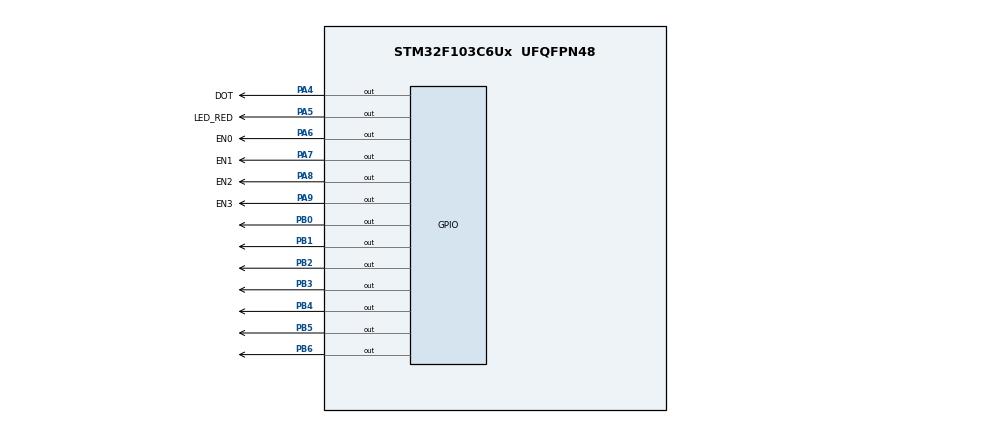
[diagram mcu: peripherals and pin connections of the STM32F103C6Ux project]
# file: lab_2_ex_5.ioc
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Mcu.Family=STM32F1
Mcu.Name=STM32F103C6Ux
Mcu.Package=UFQFPN48
NVIC.PriorityGroup=NVIC_PRIORITYGROUP_4
NVIC.TIM2_IRQn=true\:0\:0\:false\:false\:true\:true\:true\:true
PA4.GPIO_Label=DOT
PA4.Signal=GPIO_Output
PA5.GPIO_Label=LED_RED
PA5.Signal=GPIO_Output
PA6.GPIO_Label=EN0
PA6.Signal=GPIO_Output
PA7.GPIO_Label=EN1
PA7.Signal=GPIO_Output
PA8.GPIO_Label=EN2
PA8.Signal=GPIO_Output
PA9.GPIO_Label=EN3
PA9.Signal=GPIO_Output
PB0.Signal=GPIO_Output
PB1.Signal=GPIO_Output
PB2.Signal=GPIO_Output
PB3.Signal=GPIO_Output
PB4.Signal=GPIO_Output
PB5.Signal=GPIO_Output
PB6.Signal=GPIO_Output
ProjectManager.HeapSize=0x200
ProjectManager.StackSize=0x400
ProjectManager.TargetToolchain=STM32CubeIDE
RCC.APB1Freq_Value=8000000
RCC.APB2Freq_Value=8000000
TIM2.Period=9
TIM2.Prescaler=7999
VP_TIM2_VS_ClockSourceINT.Mode=Internal
board=custom

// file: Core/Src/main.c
/* USER CODE BEGIN Header */
/**
  ******************************************************************************
  * @file           : main.c
  * @brief          : Main program body
  ******************************************************************************
  * @attention
  *
  * <h2><center>&copy; Copyright (c) 2024 STMicroelectronics.
  * All rights reserved.</center></h2>
  *
  * This software component is licensed by ST under BSD 3-Clause license,
  * the "License"; You may not use this file except in compliance with the
  * License. You may obtain a copy of the License at:
  *                        opensource.org/licenses/BSD-3-Clause
  *
  ******************************************************************************
  */
/* USER CODE END Header */
/* USER CODE END Header */
#include "main.h"

TIM_HandleTypeDef htim2;

void SystemClock_Config(void);
static void MX_GPIO_Init(void);
static void MX_TIM2_Init(void);
/* USER CODE BEGIN PFP */
void display7SEG(int num);
void update7SEG(int index);
void updateClockBuffer(int hour, int minute);
/* USER CODE END PFP */

int main(void)
{

  /* MCU Configuration--------------------------------------------------------*/

  /* Reset of all peripherals, Initializes the Flash interface and the Systick. */
  HAL_Init();

  /* Configure the system clock */
  SystemClock_Config();

  /* Initialize all configured peripherals */
  MX_GPIO_Init();
  MX_TIM2_Init();
  /* USER CODE BEGIN 2 */
  HAL_TIM_Base_Start_IT(&htim2);
  /* USER CODE END 2 */

  /* Infinite loop */
  /* USER CODE BEGIN WHILE */
  int hour = 15 , minute = 8 , second = 50;

  while (1)
  {
	   second ++;
	   if ( second >= 60) {
		   second = 0;
		   minute ++;
	   }
	   if( minute >= 60) {
		   minute = 0;
		   hour ++;
	   }
	   if( hour >=24) {
		   hour = 0;
	   }
	   updateClockBuffer (hour, minute) ;
	   HAL_Delay (1000) ;
    /* USER CODE END WHILE */

  }
}

void SystemClock_Config(void)
{
  RCC_OscInitTypeDef RCC_OscInitStruct = {0};
  RCC_ClkInitTypeDef RCC_ClkInitStruct = {0};

  /** Initializes the RCC Oscillators according to the specified parameters
  * in the RCC_OscInitTypeDef structure.
  */
  RCC_OscInitStruct.OscillatorType = RCC_OSCILLATORTYPE_HSI;
  RCC_OscInitStruct.HSIState = RCC_HSI_ON;
  RCC_OscInitStruct.HSICalibrationValue = RCC_HSICALIBRATION_DEFAULT;
  RCC_OscInitStruct.PLL.PLLState = RCC_PLL_NONE;
  if (HAL_RCC_OscConfig(&RCC_OscInitStruct) != HAL_OK)
  {
    Error_Handler();
  }

  /** Initializes the CPU, AHB and APB buses clocks
  */
  RCC_ClkInitStruct.ClockType = RCC_CLOCKTYPE_HCLK|RCC_CLOCKTYPE_SYSCLK
                              |RCC_CLOCKTYPE_PCLK1|RCC_CLOCKTYPE_PCLK2;
  RCC_ClkInitStruct.SYSCLKSource = RCC_SYSCLKSOURCE_HSI;
  RCC_ClkInitStruct.AHBCLKDivider = RCC_SYSCLK_DIV1;
  RCC_ClkInitStruct.APB1CLKDivider = RCC_HCLK_DIV1;
  RCC_ClkInitStruct.APB2CLKDivider = RCC_HCLK_DIV1;

  if (HAL_RCC_ClockConfig(&RCC_ClkInitStruct, FLASH_LATENCY_0) != HAL_OK)
  {
    Error_Handler();
  }
}

static void MX_TIM2_Init(void)
{

  TIM_ClockConfigTypeDef sClockSourceConfig = {0};
  TIM_MasterConfigTypeDef sMasterConfig = {0};

  htim2.Instance = TIM2;
  htim2.Init.Prescaler = 7999;
  htim2.Init.CounterMode = TIM_COUNTERMODE_UP;
  htim2.Init.Period = 9;
  htim2.Init.ClockDivision = TIM_CLOCKDIVISION_DIV1;
  htim2.Init.AutoReloadPreload = TIM_AUTORELOAD_PRELOAD_DISABLE;
  if (HAL_TIM_Base_Init(&htim2) != HAL_OK)
  {
    Error_Handler();
  }
  sClockSourceConfig.ClockSource = TIM_CLOCKSOURCE_INTERNAL;
  if (HAL_TIM_ConfigClockSource(&htim2, &sClockSourceConfig) != HAL_OK)
  {
    Error_Handler();
  }
  sMasterConfig.MasterOutputTrigger = TIM_TRGO_RESET;
  sMasterConfig.MasterSlaveMode = TIM_MASTERSLAVEMODE_DISABLE;
  if (HAL_TIMEx_MasterConfigSynchronization(&htim2, &sMasterConfig) != HAL_OK)
  {
    Error_Handler();
  }

}

static void MX_GPIO_Init(void)
{
  GPIO_InitTypeDef GPIO_InitStruct = {0};

  /* GPIO Ports Clock Enable */
  __HAL_RCC_GPIOA_CLK_ENABLE();
  __HAL_RCC_GPIOB_CLK_ENABLE();

  /*Configure GPIO pin Output Level */
  HAL_GPIO_WritePin(GPIOA, DOT_Pin|LED_RED_Pin|EN0_Pin|EN1_Pin
                          |EN2_Pin|EN3_Pin, GPIO_PIN_RESET);

  /*Configure GPIO pin Output Level */
  HAL_GPIO_WritePin(GPIOB, GPIO_PIN_0|GPIO_PIN_1|GPIO_PIN_2|GPIO_PIN_3
                          |GPIO_PIN_4|GPIO_PIN_5|GPIO_PIN_6, GPIO_PIN_RESET);

  /*Configure GPIO pins : DOT_Pin LED_RED_Pin EN0_Pin EN1_Pin
                           EN2_Pin EN3_Pin */
  GPIO_InitStruct.Pin = DOT_Pin|LED_RED_Pin|EN0_Pin|EN1_Pin
                          |EN2_Pin|EN3_Pin;
  GPIO_InitStruct.Mode = GPIO_MODE_OUTPUT_PP;
  GPIO_InitStruct.Pull = GPIO_NOPULL;
  GPIO_InitStruct.Speed = GPIO_SPEED_FREQ_LOW;
  HAL_GPIO_Init(GPIOA, &GPIO_InitStruct);

  /*Configure GPIO pins : PB0 PB1 PB2 PB3
                           PB4 PB5 PB6 */
  GPIO_InitStruct.Pin = GPIO_PIN_0|GPIO_PIN_1|GPIO_PIN_2|GPIO_PIN_3
                          |GPIO_PIN_4|GPIO_PIN_5|GPIO_PIN_6;
  GPIO_InitStruct.Mode = GPIO_MODE_OUTPUT_PP;
  GPIO_InitStruct.Pull = GPIO_NOPULL;
  GPIO_InitStruct.Speed = GPIO_SPEED_FREQ_LOW;
  HAL_GPIO_Init(GPIOB, &GPIO_InitStruct);

}

/* USER CODE BEGIN 4 */
const int MAX_LED = 4;
int index_led = 0;
int led_buffer[4] = {1, 2, 3, 4};

void HAL_TIM_PeriodElapsedCallback(TIM_HandleTypeDef *htim) {
    if (htim->Instance == TIM2) {  // Check if the interrupt is from TIM2
        static int update7SEG_counter = 25;  // 250 ms for 1 Hz cycle through all segments
        static int led_toggle_counter = 100; // 1000 ms for 1-second toggle

        // Update 7-segment display frequency
        update7SEG_counter--;
        if (update7SEG_counter <= 0) {
            update7SEG_counter = 25;  // Reset counter for the next segment update
            update7SEG(index_led++);   // Show value on current 7-segment display
            if (index_led >= MAX_LED) {
                index_led = 0;  // Reset index_led to cycle through displays
            }
        }

        // LED blinking code
        led_toggle_counter--;
        if (led_toggle_counter <= 0) {
            led_toggle_counter = 100;  // Reset counter
            // Toggle both LEDs
            HAL_GPIO_TogglePin(LED_RED_GPIO_Port, LED_RED_Pin);
            HAL_GPIO_TogglePin(DOT_GPIO_Port, DOT_Pin);
        }
    }
}

void update7SEG(int index) {
    // Reset all enable pins first to turn off other displays
    HAL_GPIO_WritePin(EN0_GPIO_Port, EN0_Pin, GPIO_PIN_SET);
    HAL_GPIO_WritePin(EN1_GPIO_Port, EN1_Pin, GPIO_PIN_SET);
    HAL_GPIO_WritePin(EN2_GPIO_Port, EN2_Pin, GPIO_PIN_SET);
    HAL_GPIO_WritePin(EN3_GPIO_Port, EN3_Pin, GPIO_PIN_SET);

    // Select the correct display based on index and show the corresponding value
    switch (index) {
        case 0:
            HAL_GPIO_WritePin(EN0_GPIO_Port, EN0_Pin, GPIO_PIN_RESET);  // Enable first display
            display7SEG(led_buffer[0]);                                 // Display led_buffer[0]
            break;
        case 1:
            HAL_GPIO_WritePin(EN1_GPIO_Port, EN1_Pin, GPIO_PIN_RESET);  // Enable second display
            display7SEG(led_buffer[1]);                                 // Display led_buffer[1]
            break;
        case 2:
            HAL_GPIO_WritePin(EN2_GPIO_Port, EN2_Pin, GPIO_PIN_RESET);  // Enable third display
            display7SEG(led_buffer[2]);                                 // Display led_buffer[2]
            break;
        case 3:
            HAL_GPIO_WritePin(EN3_GPIO_Port, EN3_Pin, GPIO_PIN_RESET);  // Enable fourth display
            display7SEG(led_buffer[3]);                                 // Display led_buffer[3]
            break;
        default:
            break;
    }
}

void updateClockBuffer(int hour, int minute){
	led_buffer[0] = hour / 10;
	led_buffer[1] = hour % 10;
	led_buffer[2] = minute / 10;
	led_buffer[3] = minute % 10;
}

void display7SEG(int num)
{
	HAL_GPIO_WritePin(GPIOB, GPIO_PIN_All, SET);

	switch(num){
	case 0:
		HAL_GPIO_WritePin(GPIOB, GPIO_PIN_0, RESET);
		HAL_GPIO_WritePin(GPIOB, GPIO_PIN_1, RESET);
		HAL_GPIO_WritePin(GPIOB, GPIO_PIN_2, RESET);
		HAL_GPIO_WritePin(GPIOB, GPIO_PIN_3, RESET);
		HAL_GPIO_WritePin(GPIOB, GPIO_PIN_4, RESET);
		HAL_GPIO_WritePin(GPIOB, GPIO_PIN_5, RESET);
		break;
	case 1:
		HAL_GPIO_WritePin(GPIOB, GPIO_PIN_1, RESET);
		HAL_GPIO_WritePin(GPIOB, GPIO_PIN_2, RESET);
		break;
	case 2:
		HAL_GPIO_WritePin(GPIOB, GPIO_PIN_0, RESET);
		HAL_GPIO_WritePin(GPIOB, GPIO_PIN_1, RESET);
		HAL_GPIO_WritePin(GPIOB, GPIO_PIN_3, RESET);
		HAL_GPIO_WritePin(GPIOB, GPIO_PIN_4, RESET);
		HAL_GPIO_WritePin(GPIOB, GPIO_PIN_6, RESET);
		break;
	case 3:
		HAL_GPIO_WritePin(GPIOB, GPIO_PIN_0, RESET);
		HAL_GPIO_WritePin(GPIOB, GPIO_PIN_1, RESET);
		HAL_GPIO_WritePin(GPIOB, GPIO_PIN_2, RESET);
		HAL_GPIO_WritePin(GPIOB, GPIO_PIN_3, RESET);
		HAL_GPIO_WritePin(GPIOB, GPIO_PIN_6, RESET);
		break;
	case 4:
		HAL_GPIO_WritePin(GPIOB, GPIO_PIN_1, RESET);
		HAL_GPIO_WritePin(GPIOB, GPIO_PIN_2, RESET);
		HAL_GPIO_WritePin(GPIOB, GPIO_PIN_5, RESET);
		HAL_GPIO_WritePin(GPIOB, GPIO_PIN_6, RESET);
		break;
	case 5:
		HAL_GPIO_WritePin(GPIOB, GPIO_PIN_0, RESET);
		HAL_GPIO_WritePin(GPIOB, GPIO_PIN_2, RESET);
		HAL_GPIO_WritePin(GPIOB, GPIO_PIN_3, RESET);
		HAL_GPIO_WritePin(GPIOB, GPIO_PIN_5, RESET);
		HAL_GPIO_WritePin(GPIOB, GPIO_PIN_6, RESET);
		break;
	case 6:
		HAL_GPIO_WritePin(GPIOB, GPIO_PIN_0, RESET);
		HAL_GPIO_WritePin(GPIOB, GPIO_PIN_2, RESET);
		HAL_GPIO_WritePin(GPIOB, GPIO_PIN_3, RESET);
		HAL_GPIO_WritePin(GPIOB, GPIO_PIN_4, RESET);
		HAL_GPIO_WritePin(GPIOB, GPIO_PIN_5, RESET);
		HAL_GPIO_WritePin(GPIOB, GPIO_PIN_6, RESET);
		break;
	case 7:
		HAL_GPIO_WritePin(GPIOB, GPIO_PIN_0, RESET);
		HAL_GPIO_WritePin(GPIOB, GPIO_PIN_1, RESET);
		HAL_GPIO_WritePin(GPIOB, GPIO_PIN_2, RESET);
		break;
	case 8:
		HAL_GPIO_WritePin(GPIOB, GPIO_PIN_0, RESET);
		HAL_GPIO_WritePin(GPIOB, GPIO_PIN_1, RESET);
		HAL_GPIO_WritePin(GPIOB, GPIO_PIN_2, RESET);
		HAL_GPIO_WritePin(GPIOB, GPIO_PIN_3, RESET);
		HAL_GPIO_WritePin(GPIOB, GPIO_PIN_4, RESET);
		HAL_GPIO_WritePin(GPIOB, GPIO_PIN_5, RESET);
		HAL_GPIO_WritePin(GPIOB, GPIO_PIN_6, RESET);
		break;
	case 9:
		HAL_GPIO_WritePin(GPIOB, GPIO_PIN_0, RESET);
		HAL_GPIO_WritePin(GPIOB, GPIO_PIN_1, RESET);
		HAL_GPIO_WritePin(GPIOB, GPIO_PIN_2, RESET);
		HAL_GPIO_WritePin(GPIOB, GPIO_PIN_3, RESET);
		HAL_GPIO_WritePin(GPIOB, GPIO_PIN_5, RESET);
		HAL_GPIO_WritePin(GPIOB, GPIO_PIN_6, RESET);
		break;
	}
}

/* USER CODE END 4 */

void Error_Handler(void)
{
  __disable_irq();
  while (1)
  {
  }
}
